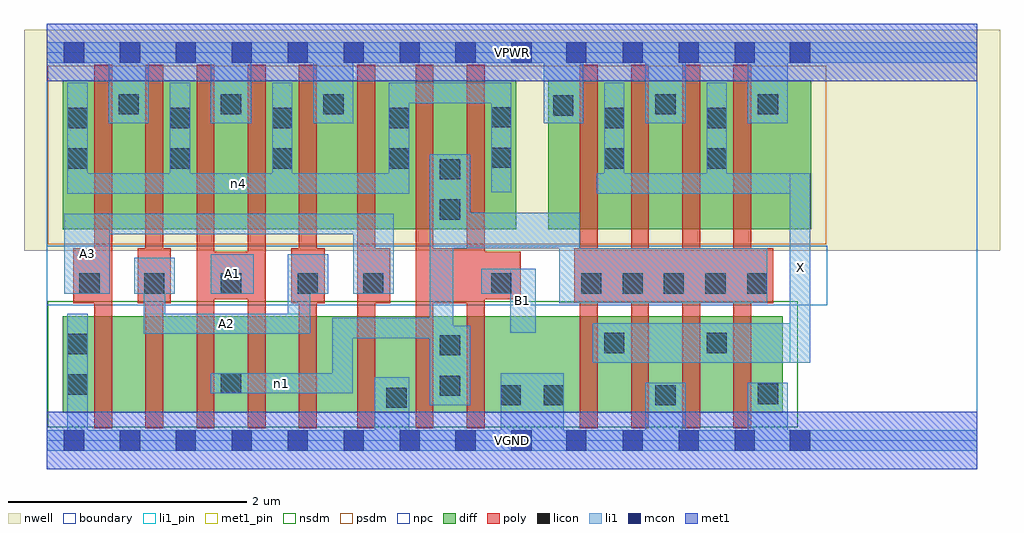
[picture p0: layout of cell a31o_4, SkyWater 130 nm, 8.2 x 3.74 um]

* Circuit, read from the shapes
.subckt a31o_4 A1 A2 A3 B1 VGND VPWR X n1 n4
XM1 n2 A3 VGND VSUBS sky130_fd_pr__nfet_01v8 w=0.81 l=0.15
XM2 n3 A2 n2 VSUBS sky130_fd_pr__nfet_01v8 w=0.81 l=0.15
XM3 n1 A1 n3 VSUBS sky130_fd_pr__nfet_01v8 w=0.81 l=0.15
XM4 n5 A1 n1 VSUBS sky130_fd_pr__nfet_01v8 w=0.81 l=0.15
XM5 n6 A2 n5 VSUBS sky130_fd_pr__nfet_01v8 w=0.81 l=0.15
XM6 VGND A3 n6 VSUBS sky130_fd_pr__nfet_01v8 w=0.81 l=0.15
XM7 n1 B1 VGND VSUBS sky130_fd_pr__nfet_01v8 w=0.81 l=0.15 m=2
XM8 X n1 VGND VSUBS sky130_fd_pr__nfet_01v8 w=0.81 l=0.15 m=4
XM9 VPWR A3 n4 n7 sky130_fd_pr__pfet_01v8 w=1.25 l=0.15 m=2
XM10 n4 A2 VPWR n7 sky130_fd_pr__pfet_01v8 w=1.25 l=0.15 m=2
XM11 VPWR A1 n4 n7 sky130_fd_pr__pfet_01v8 w=1.25 l=0.15 m=2
XM12 n1 B1 n4 n7 sky130_fd_pr__pfet_01v8 w=1.25 l=0.15 m=2
XM13 X n1 VPWR n7 sky130_fd_pr__pfet_01v8 w=1.25 l=0.15 m=4
.ends

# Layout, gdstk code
import gdstk
lib = gdstk.Library(unit=1e-6, precision=1e-09)
def R(c, l, rs):  # rectangles x0, y0, x1, y1
    for r in rs: c.add(gdstk.rectangle(r[:2], r[2:], *l))
def A(c, l, x, y, w, h, nx, ny, dx, dy):  # array of equal rectangles
    R(c, l, [(x+i*dx, y+j*dy, x+i*dx+w, y+j*dy+h) for i in range(nx) for j in range(ny)])
nwell = (64, 20)
diff = (65, 20)
poly = (66, 20)
licon = (66, 44)
li1_pin = (67, 16)
li1 = (67, 20)
mcon = (67, 44)
met1_pin = (68, 16)
met1 = (68, 20)
nsdm = (93, 44)
psdm = (94, 20)
npc = (95, 20)
boundary = (235, 4)

a31o_4 = lib.new_cell('a31o_4')
R(a31o_4, nwell, [(-0.19,1.595,8.01,3.45), (0,1.595,7.82,3.45)])
R(a31o_4, diff, [(0.135,0.235,6.185,1.045), (0.135,1.775,3.945,3.025), (4.215,1.775,6.425,3.025)])
A(a31o_4, poly, 0.4, 0.105, 0.15, 3.05, 5, 1, 0.43, 0)
A(a31o_4, poly, 4.48, 0.105, 0.15, 3.05, 4, 1, 0.43, 0)
R(a31o_4, poly, [(2.61,0.105,2.76,3.155), (3.1,0.105,3.25,3.155), (3.53,0.105,3.68,3.155), (0.225,1.155,0.55,1.615), (0.765,1.155,1.045,1.615), (2.055,1.155,2.335,1.615), (2.61,1.155,2.885,1.615), (3.1,1.155,3.68,1.615), (4.435,1.155,6.105,1.615), (1.26,1.185,1.84,1.585), (3.1,1.185,3.985,1.585)])
A(a31o_4, licon, 0.82, 1.235, 0.17, 0.17, 3, 1, 0.645, 0)
A(a31o_4, licon, 5.185, 1.235, 0.17, 0.17, 3, 1, 0.35, 0)
A(a31o_4, licon, 0.175, 2.285, 0.17, 0.17, 3, 2, 0.86, 0.34)
A(a31o_4, licon, 0.605, 2.74, 0.17, 0.17, 3, 1, 0.86, 0)
R(a31o_4, licon, [(2.855,0.275,3.025,0.445), (3.815,0.295,3.985,0.465), (4.175,0.295,4.345,0.465), (5.115,0.295,5.285,0.465), (5.975,0.305,6.145,0.475), (3.305,0.375,3.475,0.545), (0.175,0.385,0.345,0.555), (1.465,0.395,1.635,0.565), (3.305,0.715,3.475,0.885), (0.175,0.725,0.345,0.895), (4.685,0.735,4.855,0.905), (5.545,0.735,5.715,0.905), (0.275,1.235,0.445,1.405), (2.66,1.235,2.83,1.405), (3.735,1.235,3.905,1.405), (4.49,1.235,4.66,1.405), (4.84,1.235,5.01,1.405), (3.305,1.855,3.475,2.025), (3.305,2.195,3.475,2.365), (2.875,2.285,3.045,2.455), (4.685,2.285,4.855,2.455), (5.545,2.285,5.715,2.455), (3.735,2.29,3.905,2.46), (2.875,2.625,3.045,2.795), (4.685,2.625,4.855,2.795), (5.545,2.625,5.715,2.795), (3.735,2.63,3.905,2.8), (4.255,2.73,4.425,2.9), (5.115,2.74,5.285,2.91), (5.975,2.74,6.145,2.91)])
R(a31o_4, li1_pin, [(6.245,0.655,6.415,2.245), (0.815,0.895,2.215,1.065), (3.895,0.905,4.11,1.445), (0.15,1.235,0.53,1.905), (1.38,1.235,1.74,1.565)])
A(a31o_4, li1, 0.175, 2.075, 0.17, 0.93, 3, 1, 0.86, 0)
R(a31o_4, li1, [(0,-0.085,7.82,0.085), (0.175,-0.085,0.345,1.065), (2.755,-0.085,3.045,0.53), (3.815,-0.085,4.345,0.565), (5.03,-0.085,5.37,0.485), (5.89,-0.085,6.225,0.485), (3.22,0.295,3.56,0.965), (3.22,0.295,3.415,2.405), (1.38,0.395,2.57,0.565), (2.4,0.395,2.57,1.03), (4.59,0.655,6.415,0.985), (6.245,0.655,6.415,2.245), (2.4,0.86,3.415,1.03), (0.815,0.895,2.215,1.065), (0.815,0.895,0.995,1.535), (2.025,0.895,2.215,1.565), (3.895,0.905,4.11,1.445), (4.305,1.155,6.055,1.615), (4.305,1.155,4.48,1.915), (0.15,1.235,0.53,1.905), (0.735,1.235,1.075,1.535), (1.38,1.235,1.74,1.565), (2.025,1.235,2.365,1.565), (2.575,1.235,2.915,1.905), (3.65,1.235,4.11,1.445), (3.22,1.615,4.48,1.915), (3.22,1.615,3.56,2.405), (0.15,1.735,2.915,1.905), (0.175,2.075,3.045,2.245), (2.875,2.075,3.045,3.005), (4.62,2.075,6.415,2.245), (4.685,2.075,4.855,3.005), (5.545,2.075,5.715,3.005), (3.735,2.085,3.905,3.005), (0.52,2.665,0.86,3.345), (1.38,2.665,1.72,3.345), (2.24,2.665,2.575,3.345), (4.175,2.665,4.51,3.345), (5.03,2.665,5.37,3.345), (5.89,2.665,6.225,3.345), (2.875,2.835,3.905,3.005), (0,3.175,7.82,3.345)])
A(a31o_4, mcon, 0.145, -0.085, 0.17, 0.17, 9, 2, 0.47, 3.26)
A(a31o_4, mcon, 4.84, -0.085, 0.17, 0.17, 3, 2, 0.47, 3.26)
R(a31o_4, mcon, [(4.365,-0.085,4.535,0.085), (6.245,-0.085,6.415,0.085), (4.365,3.175,4.535,3.345), (6.245,3.175,6.415,3.345)])
R(a31o_4, met1_pin, [(0,-0.24,7.82,0.24), (0,3.02,7.82,3.5)])
R(a31o_4, met1, [(0,-0.24,7.82,0.24), (0,3.02,7.82,3.5)])
R(a31o_4, nsdm, [(0.01,0.11,6.31,1.17)])
R(a31o_4, psdm, [(0.01,1.65,6.55,3.15)])
R(a31o_4, npc, [(0,1.135,6.56,1.635)])
R(a31o_4, boundary, [(0,0,7.82,3.26)])
a31o_4.add(gdstk.Label('A1', (1.56,1.4), layer=67, texttype=5))
a31o_4.add(gdstk.Label('A2', (1.515,0.98), layer=67, texttype=5))
a31o_4.add(gdstk.Label('A3', (0.34,1.57), layer=67, texttype=5))
a31o_4.add(gdstk.Label('B1', (4.002,1.175), layer=67, texttype=5))
a31o_4.add(gdstk.Label('X', (6.33,1.45), layer=67, texttype=5))
a31o_4.add(gdstk.Label('n1', (1.975,0.48), layer=67, texttype=5))
a31o_4.add(gdstk.Label('n4', (1.61,2.16), layer=67, texttype=5))
a31o_4.add(gdstk.Label('VPWR', (3.91,3.26), layer=68, texttype=5))
a31o_4.add(gdstk.Label('VGND', (3.91,0), layer=68, texttype=5))
a31o_4.add(gdstk.Label('A1', (1.56,1.4), layer=67, texttype=16))
a31o_4.add(gdstk.Label('A2', (1.515,0.98), layer=67, texttype=16))
a31o_4.add(gdstk.Label('A3', (0.34,1.57), layer=67, texttype=16))
a31o_4.add(gdstk.Label('B1', (4.002,1.175), layer=67, texttype=16))
a31o_4.add(gdstk.Label('X', (6.33,1.45), layer=67, texttype=16))
a31o_4.add(gdstk.Label('VPWR', (3.91,3.26), layer=68, texttype=16))
a31o_4.add(gdstk.Label('VGND', (3.91,0), layer=68, texttype=16))

lib.write_gds('a31o_4.gds')
